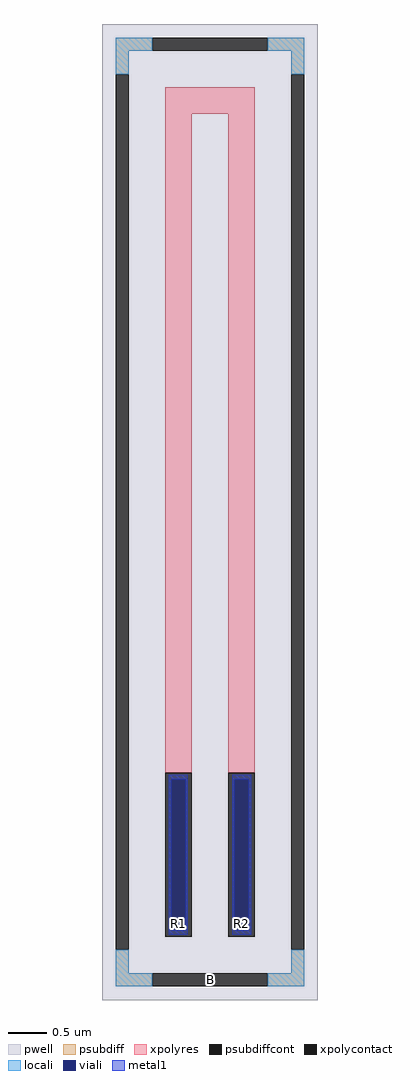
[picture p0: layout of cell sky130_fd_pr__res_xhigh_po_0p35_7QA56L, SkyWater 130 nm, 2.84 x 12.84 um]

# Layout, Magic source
magic
tech sky130A
magscale 1 2
<< pwell >>
rect -284 -1284 284 1284
<< psubdiff >>
rect -248 1214 -152 1248
rect 152 1214 248 1248
rect -248 1152 -214 1214
rect 214 1152 248 1214
rect -248 -1214 -214 -1152
rect 214 -1214 248 -1152
rect -248 -1248 -152 -1214
rect 152 -1248 248 -1214
<< psubdiffcont >>
rect -152 1214 152 1248
rect -248 -1152 -214 1152
rect 214 -1152 248 1152
rect -152 -1248 152 -1214
<< xpolycontact >>
rect -118 -1118 -48 -686
rect 48 -1118 118 -686
<< xpolyres >>
rect -118 1048 118 1118
rect -118 -686 -48 1048
rect 48 -686 118 1048
<< locali >>
rect -248 1214 -152 1248
rect 152 1214 248 1248
rect -248 1152 -214 1214
rect 214 1152 248 1214
rect -248 -1214 -214 -1152
rect 214 -1214 248 -1152
rect -248 -1248 -152 -1214
rect 152 -1248 248 -1214
<< viali >>
rect -102 -1100 -64 -703
rect 64 -1100 102 -703
<< metal1 >>
rect -108 -703 -58 -691
rect -108 -1100 -102 -703
rect -64 -1100 -58 -703
rect -108 -1112 -58 -1100
rect 58 -703 108 -691
rect 58 -1100 64 -703
rect 102 -1100 108 -703
rect 58 -1112 108 -1100
<< labels >>
rlabel psubdiffcont 0 -1231 0 -1231 0 B
port 1 nsew
rlabel xpolycontact -83 -1083 -83 -1083 0 R1
port 2 nsew
rlabel xpolycontact 83 -1083 83 -1083 0 R2
port 3 nsew
<< properties >>
string FIXED_BBOX -231 -1231 231 1231
string gencell sky130_fd_pr__res_xhigh_po_0p35
string library sky130
string parameters w 0.35 l 8.5 m 1 nx 2 wmin 0.350 lmin 0.50 class resistor rho 2000 val 100.218k dummy 0 dw 0.0 term 188.2 sterm 0.0 caplen 0 wmax 0.350 guard 1 glc 1 grc 1 gtc 1 gbc 1 compatible {sky130_fd_pr__res_xhigh_po_0p35  sky130_fd_pr__res_xhigh_po_0p69 sky130_fd_pr__res_xhigh_po_1p41  sky130_fd_pr__res_xhigh_po_2p85 sky130_fd_pr__res_xhigh_po_5p73} snake 1 full_metal 1 n_guard 0 hv_guard 0 vias 1 viagb 0 viagt 0 viagl 0 viagr 0 doports 1
<< end >>
